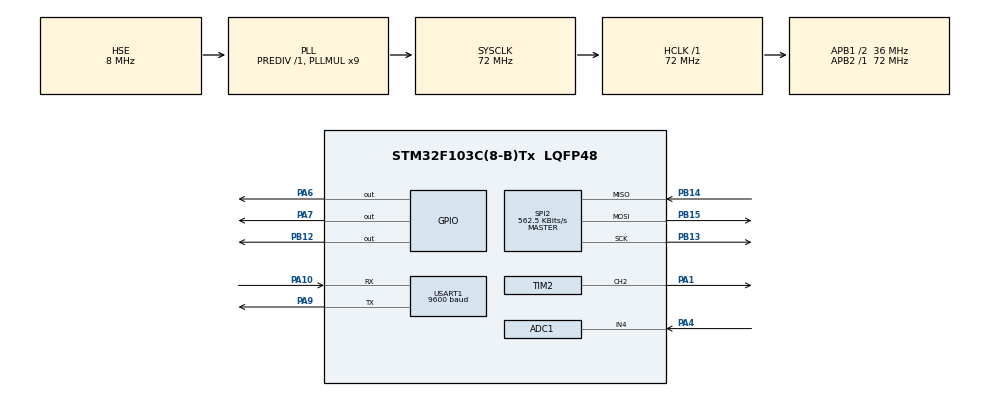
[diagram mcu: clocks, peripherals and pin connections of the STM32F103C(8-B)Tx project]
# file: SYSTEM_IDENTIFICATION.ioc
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ADC1.Channel-0\#ChannelRegularConversion=ADC_CHANNEL_4
ADC1.ContinuousConvMode=ENABLE
ADC1.InjNumberOfConversion=0
ADC1.NbrOfConversion=1
ADC1.NbrOfConversionFlag=1
ADC1.Rank-0\#ChannelRegularConversion=1
ADC1.SamplingTime-0\#ChannelRegularConversion=ADC_SAMPLETIME_1CYCLE_5
ADC1.master=1
FREERTOS.HEAP_NUMBER=3
FREERTOS.Mutexes01=myMutex01,Dynamic,NULL
FREERTOS.Tasks01=CurrentRead,3,128,StartTaskCurrentRead,Default,NULL,Dynamic,NULL,NULL;DataLogging,3,128,StartTaskDataLogging,Default,NULL,Dynamic,NULL,NULL;SystemIdentific,3,128,StartTaskSystemIdentification,Default,NULL,Dynamic,NULL,NULL
Mcu.Family=STM32F1
Mcu.Name=STM32F103C(8-B)Tx
Mcu.Package=LQFP48
NVIC.ADC1_2_IRQn=true\:5\:0\:false\:false\:true\:true\:true
NVIC.PriorityGroup=NVIC_PRIORITYGROUP_4
NVIC.TIM1_UP_IRQn=true\:0\:0\:false\:false\:true\:false\:false
NVIC.TimeBase=TIM1_UP_IRQn
NVIC.TimeBaseIP=TIM1
PA1.Signal=S_TIM2_CH2
PA10.Mode=Asynchronous
PA10.Signal=USART1_RX
PA13.Mode=Serial_Wire
PA13.Signal=SYS_JTMS-SWDIO
PA14.Mode=Serial_Wire
PA14.Signal=SYS_JTCK-SWCLK
PA4.Signal=ADCx_IN4
PA6.Signal=GPIO_Output
PA7.Signal=GPIO_Output
PA9.Mode=Asynchronous
PA9.Signal=USART1_TX
PB12.GPIO_PuPd=GPIO_PULLUP
PB12.GPIO_Speed=GPIO_SPEED_FREQ_HIGH
PB12.PinState=GPIO_PIN_RESET
PB12.Signal=GPIO_Output
PB13.Mode=Full_Duplex_Master
PB13.Signal=SPI2_SCK
PB14.Mode=Full_Duplex_Master
PB14.Signal=SPI2_MISO
PB15.Mode=Full_Duplex_Master
PB15.Signal=SPI2_MOSI
PD0-OSC_IN.Mode=HSE-External-Oscillator
PD0-OSC_IN.Signal=RCC_OSC_IN
PD1-OSC_OUT.Mode=HSE-External-Oscillator
PD1-OSC_OUT.Signal=RCC_OSC_OUT
ProjectManager.HeapSize=0x200
ProjectManager.StackSize=0x400
ProjectManager.TargetToolchain=SW4STM32
RCC.ADCPresc=RCC_ADCPCLK2_DIV6
RCC.AHBFreq_Value=72000000
RCC.APB1CLKDivider=RCC_HCLK_DIV2
RCC.APB1Freq_Value=36000000
RCC.APB1TimFreq_Value=72000000
RCC.APB2Freq_Value=72000000
RCC.APB2TimFreq_Value=72000000
RCC.HCLKFreq_Value=72000000
RCC.PLLMUL=RCC_PLL_MUL9
RCC.PLLSourceVirtual=RCC_PLLSOURCE_HSE
RCC.SYSCLKFreq_VALUE=72000000
RCC.SYSCLKSource=RCC_SYSCLKSOURCE_PLLCLK
RCC.USBFreq_Value=48000000
RCC.USBPrescaler=RCC_USBCLKSOURCE_PLL_DIV1_5
SH.ADCx_IN4.0=ADC1_IN4,IN4
SH.S_TIM2_CH2.0=TIM2_CH2,PWM Generation2 CH2
SPI2.BaudRatePrescaler=SPI_BAUDRATEPRESCALER_64
SPI2.CLKPhase=SPI_PHASE_1EDGE
SPI2.CalculateBaudRate=562.5 KBits/s
SPI2.Direction=SPI_DIRECTION_2LINES
SPI2.Mode=SPI_MODE_MASTER
SPI2.VirtualType=VM_MASTER
TIM2.Channel-PWM\ Generation2\ CH2=TIM_CHANNEL_2
TIM2.Period=99
TIM2.Prescaler=9
USART1.BaudRate=9600
USART1.VirtualMode=VM_ASYNC
VP_FREERTOS_VS_ENABLE.Mode=Enabled
VP_SYS_VS_tim1.Mode=TIM1
VP_TIM2_VS_ClockSourceINT.Mode=Internal
board=custom

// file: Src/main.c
/* USER CODE BEGIN Header */
/**
  ******************************************************************************
  * @file           : main.c
  * @brief          : Main program body
  ******************************************************************************
  * This notice applies to any and all portions of this file
  * that are not between comment pairs USER CODE BEGIN and
  * USER CODE END. Other portions of this file, whether
  * inserted by the user or by software development tools
  * are owned by their respective copyright owners.
  *
  * Copyright (c) 2019 STMicroelectronics International N.V.
  * All rights reserved.
  *
  * Redistribution and use in source and binary forms, with or without
  * modification, are permitted, provided that the following conditions are met:
  *
  * 1. Redistribution of source code must retain the above copyright notice,
  *    this list of conditions and the following disclaimer.
  * 2. Redistributions in binary form must reproduce the above copyright notice,
  *    this list of conditions and the following disclaimer in the documentation
  *    and/or other materials provided with the distribution.
  * 3. Neither the name of STMicroelectronics nor the names of other
  *    contributors to this software may be used to endorse or promote products
  *    derived from this software without specific written permission.
  * 4. This software, including modifications and/or derivative works of this
  *    software, must execute solely and exclusively on microcontroller or
  *    microprocessor devices manufactured by or for STMicroelectronics.
  * 5. Redistribution and use of this software other than as permitted under
  *    this license is void and will automatically terminate your rights under
  *    this license.
  *
  * THIS SOFTWARE IS PROVIDED BY STMICROELECTRONICS AND CONTRIBUTORS "AS IS"
  * AND ANY EXPRESS, IMPLIED OR STATUTORY WARRANTIES, INCLUDING, BUT NOT
  * LIMITED TO, THE IMPLIED WARRANTIES OF MERCHANTABILITY, FITNESS FOR A
  * PARTICULAR PURPOSE AND NON-INFRINGEMENT OF THIRD PARTY INTELLECTUAL PROPERTY
  * RIGHTS ARE DISCLAIMED TO THE FULLEST EXTENT PERMITTED BY LAW. IN NO EVENT
  * SHALL STMICROELECTRONICS OR CONTRIBUTORS BE LIABLE FOR ANY DIRECT, INDIRECT,
  * INCIDENTAL, SPECIAL, EXEMPLARY, OR CONSEQUENTIAL DAMAGES (INCLUDING, BUT NOT
  * LIMITED TO, PROCUREMENT OF SUBSTITUTE GOODS OR SERVICES; LOSS OF USE, DATA,
  * OR PROFITS; OR BUSINESS INTERRUPTION) HOWEVER CAUSED AND ON ANY THEORY OF
  * LIABILITY, WHETHER IN CONTRACT, STRICT LIABILITY, OR TORT (INCLUDING
  * NEGLIGENCE OR OTHERWISE) ARISING IN ANY WAY OUT OF THE USE OF THIS SOFTWARE,
  * EVEN IF ADVISED OF THE POSSIBILITY OF SUCH DAMAGE.
  *
  ******************************************************************************
  */
/* USER CODE END Header */

#include "legio_sys_id.h"
#include "main.h"
#include "cmsis_os.h"

ADC_HandleTypeDef hadc1;

SPI_HandleTypeDef hspi2;

TIM_HandleTypeDef htim2;

UART_HandleTypeDef huart1;

osThreadId CurrentReadHandle;
osThreadId DataLoggingHandle;
osThreadId SystemIdentificHandle;

//osMutexId myMutex01Handle;

/* USER CODE BEGIN PV */

//global variables
float current_value;
int adc_offset;
int dutycycle;

struct system_config{
	const int FREQ;
	const int PWM_MAX;
	const int PWM_SIGNAL_DURATION;
	const int CURRENT_READ_SAMPLE_TIME;
	const int LOGGING_SAMPLE_TIME;
};

struct system_config sys_config = {
    .FREQ = 18,
    .PWM_MAX = 12,
    .PWM_SIGNAL_DURATION = 100,
    .CURRENT_READ_SAMPLE_TIME = 500,
    .LOGGING_SAMPLE_TIME = 500
};

/* USER CODE END PV */

void SystemClock_Config(void);
static void MX_GPIO_Init(void);
static void MX_USART1_UART_Init(void);
static void MX_TIM2_Init(void);
static void MX_SPI2_Init(void);
static void MX_ADC1_Init(void);
void StartTaskCurrentRead(void const * argument);
void StartTaskDataLogging(void const * argument);
void StartTaskSystemIdentification(void const * argument);

int main(void)
{

  /* MCU Configuration--------------------------------------------------------*/

  /* Reset of all peripherals, Initializes the Flash interface and the Systick. */
  HAL_Init();

  /* Configure the system clock */
  SystemClock_Config();

  /* Initialize all configured peripherals */
  MX_GPIO_Init();
  MX_USART1_UART_Init();
  MX_TIM2_Init(); //see this function for pwm frequency setting
  MX_SPI2_Init();
  MX_ADC1_Init();
  /* USER CODE BEGIN 2 */

  write_system_config_to_sd(sys_config.FREQ, sys_config.PWM_MAX, sys_config.PWM_SIGNAL_DURATION, sys_config.CURRENT_READ_SAMPLE_TIME, sys_config.LOGGING_SAMPLE_TIME); //write script definition and system configurations
  adc_offset = current_sensor_offsetting(); //gets current reading when no current is applied

  /* USER CODE END 2 */

  /* Create the mutex(es) */
  /* definition and creation of myMutex01 */
//  osMutexDef(myMutex01);
//  myMutex01Handle = osMutexCreate(osMutex(myMutex01));

  /* Create the thread(s) */
  /* definition and creation of CurrentRead */
  osThreadDef(CurrentRead, StartTaskCurrentRead, osPriorityNormal, 0, 128);
  CurrentReadHandle = osThreadCreate(osThread(CurrentRead), NULL);

  /* definition and creation of DataLogging */
  osThreadDef(DataLogging, StartTaskDataLogging, osPriorityIdle, 0, 128);
  DataLoggingHandle = osThreadCreate(osThread(DataLogging), NULL);

  /* definition and creation of SystemIdentific */
  osThreadDef(SystemIdentific, StartTaskSystemIdentification, osPriorityRealtime, 0, 128);
  SystemIdentificHandle = osThreadCreate(osThread(SystemIdentific), NULL);

  /* Start scheduler */
  osKernelStart();

  /* We should never get here as control is now taken by the scheduler */

  /* Infinite loop */
  while (1)
  {

  }
}

void SystemClock_Config(void)
{
  RCC_OscInitTypeDef RCC_OscInitStruct = {0};
  RCC_ClkInitTypeDef RCC_ClkInitStruct = {0};
  RCC_PeriphCLKInitTypeDef PeriphClkInit = {0};

  /**Initializes the CPU, AHB and APB busses clocks
  */
  RCC_OscInitStruct.OscillatorType = RCC_OSCILLATORTYPE_HSE;
  RCC_OscInitStruct.HSEState = RCC_HSE_ON;
  RCC_OscInitStruct.HSEPredivValue = RCC_HSE_PREDIV_DIV1;
  RCC_OscInitStruct.HSIState = RCC_HSI_ON;
  RCC_OscInitStruct.PLL.PLLState = RCC_PLL_ON;
  RCC_OscInitStruct.PLL.PLLSource = RCC_PLLSOURCE_HSE;
  RCC_OscInitStruct.PLL.PLLMUL = RCC_PLL_MUL9;
  if (HAL_RCC_OscConfig(&RCC_OscInitStruct) != HAL_OK)
  {
    Error_Handler();
  }
  /**Initializes the CPU, AHB and APB busses clocks
  */
  RCC_ClkInitStruct.ClockType = RCC_CLOCKTYPE_HCLK|RCC_CLOCKTYPE_SYSCLK
                              |RCC_CLOCKTYPE_PCLK1|RCC_CLOCKTYPE_PCLK2;
  RCC_ClkInitStruct.SYSCLKSource = RCC_SYSCLKSOURCE_PLLCLK;
  RCC_ClkInitStruct.AHBCLKDivider = RCC_SYSCLK_DIV1;
  RCC_ClkInitStruct.APB1CLKDivider = RCC_HCLK_DIV2;
  RCC_ClkInitStruct.APB2CLKDivider = RCC_HCLK_DIV1;

  if (HAL_RCC_ClockConfig(&RCC_ClkInitStruct, FLASH_LATENCY_2) != HAL_OK)
  {
    Error_Handler();
  }
  PeriphClkInit.PeriphClockSelection = RCC_PERIPHCLK_ADC;
  PeriphClkInit.AdcClockSelection = RCC_ADCPCLK2_DIV6;
  if (HAL_RCCEx_PeriphCLKConfig(&PeriphClkInit) != HAL_OK)
  {
    Error_Handler();
  }
}

static void MX_ADC1_Init(void)
{

  ADC_ChannelConfTypeDef sConfig = {0};

  /**Common config
  */
  hadc1.Instance = ADC1;
  hadc1.Init.ScanConvMode = ADC_SCAN_DISABLE;
  hadc1.Init.ContinuousConvMode = ENABLE;
  hadc1.Init.DiscontinuousConvMode = DISABLE;
  hadc1.Init.ExternalTrigConv = ADC_SOFTWARE_START;
  hadc1.Init.DataAlign = ADC_DATAALIGN_RIGHT;
  hadc1.Init.NbrOfConversion = 1;
  if (HAL_ADC_Init(&hadc1) != HAL_OK)
  {
    Error_Handler();
  }
  /**Configure Regular Channel
  */
  sConfig.Channel = ADC_CHANNEL_4;
  sConfig.Rank = ADC_REGULAR_RANK_1;
  sConfig.SamplingTime = ADC_SAMPLETIME_1CYCLE_5;
  if (HAL_ADC_ConfigChannel(&hadc1, &sConfig) != HAL_OK)
  {
    Error_Handler();
  }

}

static void MX_SPI2_Init(void)
{

  /* SPI2 parameter configuration*/
  hspi2.Instance = SPI2;
  hspi2.Init.Mode = SPI_MODE_MASTER;
  hspi2.Init.Direction = SPI_DIRECTION_2LINES;
  hspi2.Init.DataSize = SPI_DATASIZE_8BIT;
  hspi2.Init.CLKPolarity = SPI_POLARITY_LOW;
  hspi2.Init.CLKPhase = SPI_PHASE_1EDGE;
  hspi2.Init.NSS = SPI_NSS_SOFT;
  hspi2.Init.BaudRatePrescaler = SPI_BAUDRATEPRESCALER_64;
  hspi2.Init.FirstBit = SPI_FIRSTBIT_MSB;
  hspi2.Init.TIMode = SPI_TIMODE_DISABLE;
  hspi2.Init.CRCCalculation = SPI_CRCCALCULATION_DISABLE;
  hspi2.Init.CRCPolynomial = 10;
  if (HAL_SPI_Init(&hspi2) != HAL_OK)
  {
    Error_Handler();
  }

}

static void MX_TIM2_Init(void)
{

  TIM_ClockConfigTypeDef sClockSourceConfig = {0};
  TIM_MasterConfigTypeDef sMasterConfig = {0};
  TIM_OC_InitTypeDef sConfigOC = {0};

  htim2.Instance = TIM2;
  htim2.Init.Prescaler = 35; //pwm set @18khz
  htim2.Init.CounterMode = TIM_COUNTERMODE_UP;
  htim2.Init.Period = 99;
  htim2.Init.ClockDivision = TIM_CLOCKDIVISION_DIV1;
  htim2.Init.AutoReloadPreload = TIM_AUTORELOAD_PRELOAD_DISABLE;
  if (HAL_TIM_Base_Init(&htim2) != HAL_OK)
  {
    Error_Handler();
  }
  sClockSourceConfig.ClockSource = TIM_CLOCKSOURCE_INTERNAL;
  if (HAL_TIM_ConfigClockSource(&htim2, &sClockSourceConfig) != HAL_OK)
  {
    Error_Handler();
  }
  if (HAL_TIM_PWM_Init(&htim2) != HAL_OK)
  {
    Error_Handler();
  }
  sMasterConfig.MasterOutputTrigger = TIM_TRGO_RESET;
  sMasterConfig.MasterSlaveMode = TIM_MASTERSLAVEMODE_DISABLE;
  if (HAL_TIMEx_MasterConfigSynchronization(&htim2, &sMasterConfig) != HAL_OK)
  {
    Error_Handler();
  }
  sConfigOC.OCMode = TIM_OCMODE_PWM1;
  sConfigOC.Pulse = 0;
  sConfigOC.OCPolarity = TIM_OCPOLARITY_HIGH;
  sConfigOC.OCFastMode = TIM_OCFAST_DISABLE;
  if (HAL_TIM_PWM_ConfigChannel(&htim2, &sConfigOC, TIM_CHANNEL_2) != HAL_OK)
  {
    Error_Handler();
  }
  HAL_TIM_MspPostInit(&htim2);

}

static void MX_USART1_UART_Init(void)
{

  huart1.Instance = USART1;
  huart1.Init.BaudRate = 9600;
  huart1.Init.WordLength = UART_WORDLENGTH_8B;
  huart1.Init.StopBits = UART_STOPBITS_1;
  huart1.Init.Parity = UART_PARITY_NONE;
  huart1.Init.Mode = UART_MODE_TX_RX;
  huart1.Init.HwFlowCtl = UART_HWCONTROL_NONE;
  huart1.Init.OverSampling = UART_OVERSAMPLING_16;
  if (HAL_UART_Init(&huart1) != HAL_OK)
  {
    Error_Handler();
  }

}

static void MX_GPIO_Init(void)
{
  GPIO_InitTypeDef GPIO_InitStruct = {0};

  /* GPIO Ports Clock Enable */
  __HAL_RCC_GPIOD_CLK_ENABLE();
  __HAL_RCC_GPIOA_CLK_ENABLE();
  __HAL_RCC_GPIOB_CLK_ENABLE();

  /*Configure GPIO pin Output Level */
  HAL_GPIO_WritePin(GPIOA, GPIO_PIN_6|GPIO_PIN_7, GPIO_PIN_RESET);

  /*Configure GPIO pin Output Level */
  HAL_GPIO_WritePin(GPIOB, GPIO_PIN_12, GPIO_PIN_RESET);

  /*Configure GPIO pins : PA6 PA7 */
  GPIO_InitStruct.Pin = GPIO_PIN_6|GPIO_PIN_7;
  GPIO_InitStruct.Mode = GPIO_MODE_OUTPUT_PP;
  GPIO_InitStruct.Pull = GPIO_NOPULL;
  GPIO_InitStruct.Speed = GPIO_SPEED_FREQ_LOW;
  HAL_GPIO_Init(GPIOA, &GPIO_InitStruct);

  /*Configure GPIO pin : PB12 */
  GPIO_InitStruct.Pin = GPIO_PIN_12;
  GPIO_InitStruct.Mode = GPIO_MODE_OUTPUT_PP;
  GPIO_InitStruct.Pull = GPIO_PULLUP;
  GPIO_InitStruct.Speed = GPIO_SPEED_FREQ_HIGH;
  HAL_GPIO_Init(GPIOB, &GPIO_InitStruct);

}

void StartTaskCurrentRead(void const * argument)
{
  /* USER CODE BEGIN 5 */
  int adc_value;
  float read_voltage;
  float voltage_offset;

  voltage_offset = (adc_offset)*(3300/4095.0); //voltage offset value

  HAL_ADC_Start(&hadc1); //start adc channel

  /* Infinite loop */
	for(;;)
	  {
//		if(xSemaphoreTake( myMutex01Handle,( TickType_t) 10 ) == pdTRUE)
//		{
		HAL_ADC_PollForConversion(&hadc1, 100); //wait for conversion
		adc_value = HAL_ADC_GetValue(&hadc1);
		read_voltage = (adc_value)*(3300/4095.0); //value in mV
		current_value = (read_voltage - voltage_offset)/(185); //result in A
		current_value = 2*current_value; //multiples by 2 to scale for current division
		  //xTaskNotify(DataLoggingHandle, 0x01, eSetBits);
		//}
		osDelay(sys_config.CURRENT_READ_SAMPLE_TIME); //read current every 50ms
	  }
  /* USER CODE END 5 */
}

void StartTaskDataLogging(void const * argument)
{
  /* USER CODE BEGIN StartTaskDataLogging */
  //uint32_t notifValue;
  /* Infinite loop */
	for(;;)
	{
	  //xTaskNotifyWait(pdFALSE, 0xFF, &notifValue, portMAX_DELAY);
//	  if((notifValue & 0x01) !=0x00){
//		  if( xSemaphoreTake( myMutex01Handle,( TickType_t) 10 ) == pdTRUE)
//		  	  {
		         write_current(current_value);
		  		 //xSemaphoreGive(myMutex01Handle);
//		  	  }
//	  }
	  osDelay(sys_config.LOGGING_SAMPLE_TIME);
	}
  /* USER CODE END StartTaskDataLogging */
}

void StartTaskSystemIdentification(void const * argument)
{
 /* USER CODE BEGIN StartTaskSystemIdentification */

	float tau, v_avg;

	v_avg = 0;
	pwm_init();

	// Infinite loop
	for(;;)
	{
		tau = (v_avg)/((sys_config.PWM_MAX)*(sys_config.FREQ));
		dutycycle = (int)(tau*(sys_config.FREQ)*100); //duty cycle as percentage
	    pwm_set_duty_cycle(dutycycle);
	    osDelay(sys_config.PWM_SIGNAL_DURATION); // signal stays either high or low for PWM_SIGNAL_DURATION
		if(v_avg == 0) {v_avg = 5;}
		else {v_avg = 0;}
	}

  /* USER CODE END StartTaskSystemIdentification */
}

void HAL_TIM_PeriodElapsedCallback(TIM_HandleTypeDef *htim)
{
  if (htim->Instance == TIM1) {
    HAL_IncTick();
  }
}

void Error_Handler(void)
{
}

/************************ (C) COPYRIGHT STMicroelectronics *****END OF FILE****/
